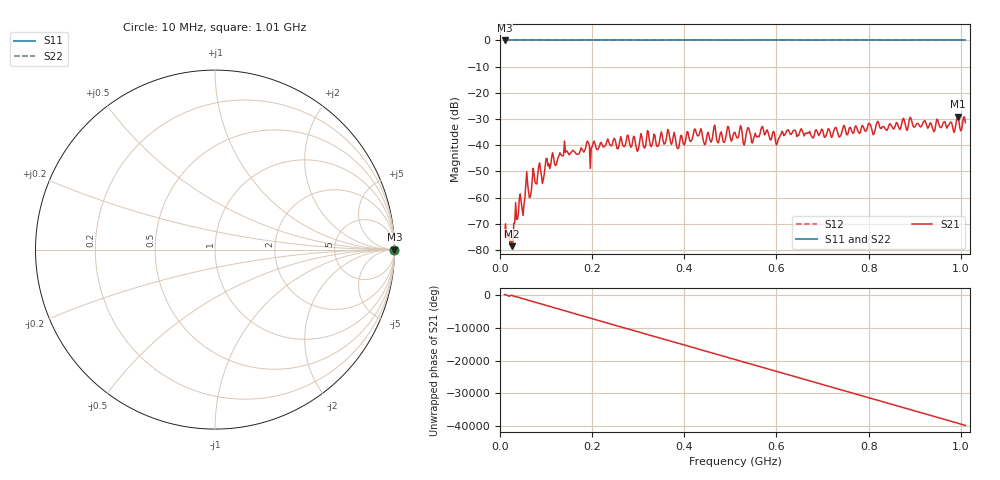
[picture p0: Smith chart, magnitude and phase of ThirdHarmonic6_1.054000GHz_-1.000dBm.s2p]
! 8/16/2025 9:21:33 AM
! C:\ANRITSUVNA\TEMP\TEMP.S2P
! CHANNEL.1
! TR.MEASUREMENT
! RAW.DATA
! RF.CORRECTION.OFF
! AVERAGING.OFF
! IF.BANDWIDTH: 5KHZ
! SWEEPTYPE:  FREQ.SWEEP(Linear)
! Reference Plane Port Info
! PORT:  PORT1  PORT2
! DISTANCE:  0  m  0  m
! TIME:  0  s  0  s
! PHASE.OFFSET:  0  deg.  0  deg.
! LOSS:  0  dB  0  dB
! REF.LOSS:  0  dB  0  dB
! REF.FREQ:  0  Hz  0  Hz
! Power Info
! POWER:  -20  dBm  -20  dBm
! EFF.POWER:  -20  dBm  -20  dBm
! SOURCE.ATTEN:  0  dB  0  dB
! TEST.ATTEN:  0  dB  0  dB
# GHZ S RI R 50.0
! FREQ.GHZ  S11RE  S11IM  S21RE  S21IM  S12RE  S12IM  S22RE  S22IM
!; PortSelection: Port_12
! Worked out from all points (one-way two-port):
!   501 points, 10 MHz to 1.01 GHz, reference 50 ohm
!   highest |S21| = -29.07 dB at 994 MHz (marker M1); lowest = -78.5 dB at 26 MHz (marker M2)
!   lowest |S11| = 0.0 dB at 10 MHz (marker M3)
!   |S11| at or under -10 dB: nowhere
!   |S22| runs from 0.0 to 0.0 dB; largest |S21 - S12| = 1
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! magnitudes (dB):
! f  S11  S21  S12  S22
! 10 MHz  0.0  -74.6  0.0  0.0
! 26 MHz  0.0  -78.5  0.0  0.0
! 38 MHz  0.0  -68.2  0.0  0.0
! 50 MHz  0.0  -66.8  0.0  0.0
! 58 MHz  0.0  -50.1  0.0  0.0
! 64 MHz  0.0  -60.0  0.0  0.0
! 86 MHz  0.0  -46.8  0.0  0.0
! 94 MHz  0.0  -53.2  0.0  0.0
! 102 MHz  0.0  -45.0  0.0  0.0
! 142 MHz  0.0  -42.7  0.0  0.0
! 178 MHz  0.0  -41.5  0.0  0.0
! 344 MHz  0.0  -40.1  0.0  0.0
! 364 MHz  0.0  -34.0  0.0  0.0
! 386 MHz  0.0  -41.3  0.0  0.0
! 424 MHz  0.0  -33.9  0.0  0.0
! 444 MHz  0.0  -39.8  0.0  0.0
! 466 MHz  0.0  -32.3  0.0  0.0
! 510 MHz  0.0  -35.1  0.0  0.0
! 678 MHz  0.0  -37.1  0.0  0.0
! 844 MHz  0.0  -32.3  0.0  0.0
! 994 MHz  0.0  -29.1  0.0  0.0
! 1.01 GHz  0.0  -31.4  0.0  0.0
